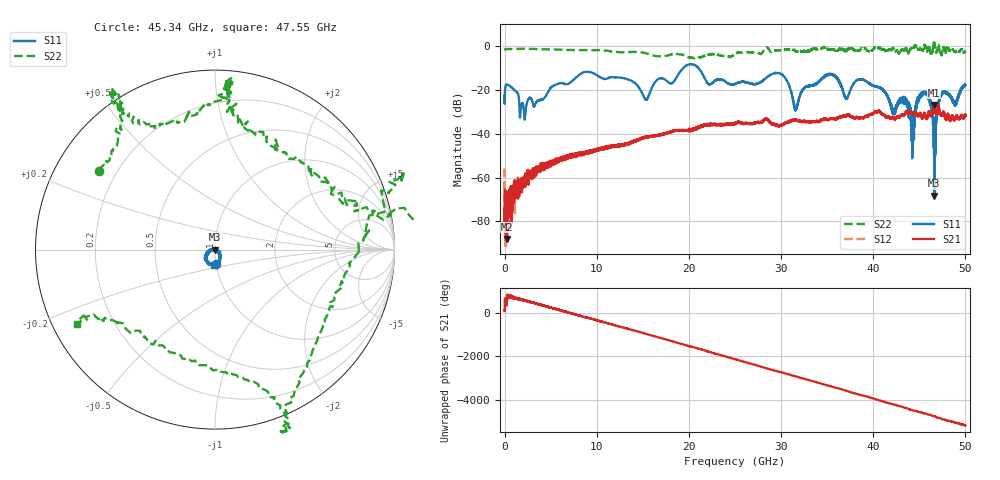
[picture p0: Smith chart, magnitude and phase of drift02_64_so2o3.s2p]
!Created with skrf (http://scikit-rf.org).
# Hz S RI R 50.0
!freq ReS11 ImS11 ReS21 ImS21 ReS12 ImS12 ReS22 ImS22
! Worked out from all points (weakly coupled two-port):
!   10001 points, 300 kHz to 50 GHz, reference 50 ohm
!   highest |S21| = -26.90 dB at 46.6 GHz (marker M1); lowest = -88.0 dB at 225.3 MHz (marker M2)
!   lowest |S11| = -68.3 dB at 46.63 GHz (marker M3), VSWR 1.00, Z = 50 + j0.0283 ohm
!   |S11| at or under -10 dB: start of sweep to 19.43 GHz; 21.01 GHz to end of sweep
!   |S22| runs from -5.7 to 2.5 dB; largest |S21 - S12| = 0.0034
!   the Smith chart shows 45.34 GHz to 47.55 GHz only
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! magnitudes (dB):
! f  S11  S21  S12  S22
! 300 kHz  -22.6  -65.7  -55.9  -2.1
! 225.3 MHz  -17.6  -88.0  -80.0  -1.4
! 2.185 GHz  -33.6  -61.5  -60.9  -1.3
! 8.335 GHz  -12.5  -49.1  -49.7  -1.9
! 15.34 GHz  -24.5  -41.7  -41.6  -3.3
! 16.67 GHz  -15.1  -40.9  -40.7  -4.7
! 20.3 GHz  -8.4  -38.7  -38.4  -5.5
! 25 GHz  -17.4  -35.4  -35.5  -3.8
! 29.84 GHz  -12.6  -36.4  -36.4  -2.0
! 31.59 GHz  -29.0  -33.8  -34.0  -2.4
! 33.34 GHz  -17.9  -34.7  -34.3  -1.5
! 35.6 GHz  -13.1  -33.2  -33.3  -1.6
! 37.1 GHz  -24.1  -31.7  -31.7  -2.2
! 38.76 GHz  -15.3  -32.5  -32.6  -1.0
! 41.67 GHz  -24.1  -32.3  -32.3  -1.9
! 43.53 GHz  -24.5  -30.1  -30.4  -1.4
! 44.27 GHz  -38.1  -31.2  -31.1  -1.5
! 45.74 GHz  -21.0  -32.8  -32.8  -1.4
! 46.6 GHz  -44.0  -26.9  -26.8  1.9
! 46.63 GHz  -68.3  -27.8  -27.3  1.6
! 47.47 GHz  -21.8  -31.7  -31.7  -3.4
! 50 GHz  -17.9  -31.8  -31.7  -2.8
